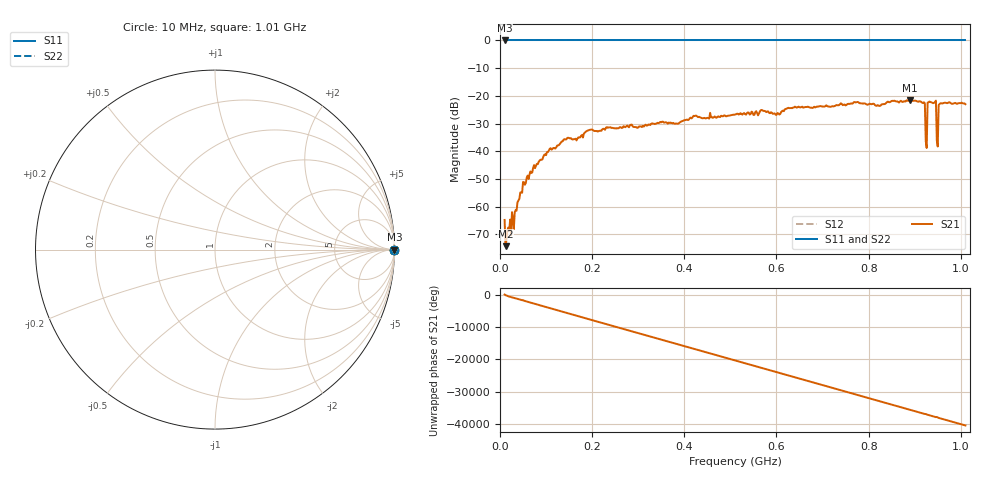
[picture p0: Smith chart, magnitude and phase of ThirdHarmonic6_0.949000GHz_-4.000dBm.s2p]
! 8/16/2025 6:49:18 AM
! C:\ANRITSUVNA\TEMP\TEMP.S2P
! CHANNEL.1
! TR.MEASUREMENT
! RAW.DATA
! RF.CORRECTION.OFF
! AVERAGING.OFF
! IF.BANDWIDTH: 5KHZ
! SWEEPTYPE:  FREQ.SWEEP(Linear)
! Reference Plane Port Info
! PORT:  PORT1  PORT2
! DISTANCE:  0  m  0  m
! TIME:  0  s  0  s
! PHASE.OFFSET:  0  deg.  0  deg.
! LOSS:  0  dB  0  dB
! REF.LOSS:  0  dB  0  dB
! REF.FREQ:  0  Hz  0  Hz
! Power Info
! POWER:  -20  dBm  -20  dBm
! EFF.POWER:  -20  dBm  -20  dBm
! SOURCE.ATTEN:  0  dB  0  dB
! TEST.ATTEN:  0  dB  0  dB
# GHZ S RI R 50.0
! FREQ.GHZ  S11RE  S11IM  S21RE  S21IM  S12RE  S12IM  S22RE  S22IM
!; PortSelection: Port_12
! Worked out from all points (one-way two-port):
!   501 points, 10 MHz to 1.01 GHz, reference 50 ohm
!   highest |S21| = -21.53 dB at 890 MHz (marker M1); lowest = -74.3 dB at 12 MHz (marker M2)
!   lowest |S11| = 0.0 dB at 10 MHz (marker M3)
!   |S11| at or under -10 dB: nowhere
!   |S22| runs from 0.0 to 0.0 dB; largest |S21 - S12| = 1.1
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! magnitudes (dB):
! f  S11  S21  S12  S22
! 10 MHz  0.0  -64.8  0.0  0.0
! 12 MHz  0.0  -74.3  0.0  0.0
! 16 MHz  0.0  -68.6  0.0  0.0
! 48 MHz  0.0  -55.0  0.0  0.0
! 76 MHz  0.0  -46.1  0.0  0.0
! 138 MHz  0.0  -35.8  0.0  0.0
! 178 MHz  0.0  -34.1  0.0  0.0
! 196 MHz  0.0  -32.2  0.0  0.0
! 344 MHz  0.0  -29.8  0.0  0.0
! 510 MHz  0.0  -26.7  0.0  0.0
! 678 MHz  0.0  -24.4  0.0  0.0
! 844 MHz  0.0  -22.3  0.0  0.0
! 890 MHz  0.0  -21.5  0.0  0.0
! 918 MHz  0.0  -22.6  0.0  0.0
! 922 MHz  0.0  -22.7  0.0  0.0
! 928 MHz  0.0  -22.5  0.0  0.0
! 932 MHz  0.0  -22.1  0.0  0.0
! 942 MHz  0.0  -22.5  0.0  0.0
! 946 MHz  0.0  -21.7  0.0  0.0
! 952 MHz  0.0  -23.3  0.0  0.0
! 956 MHz  0.0  -22.7  0.0  0.0
! 1.01 GHz  0.0  -23.0  0.0  0.0
